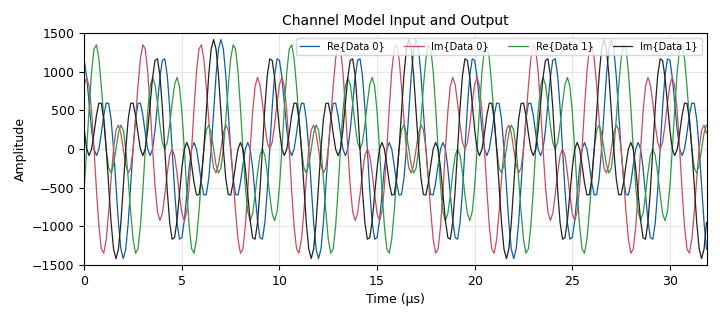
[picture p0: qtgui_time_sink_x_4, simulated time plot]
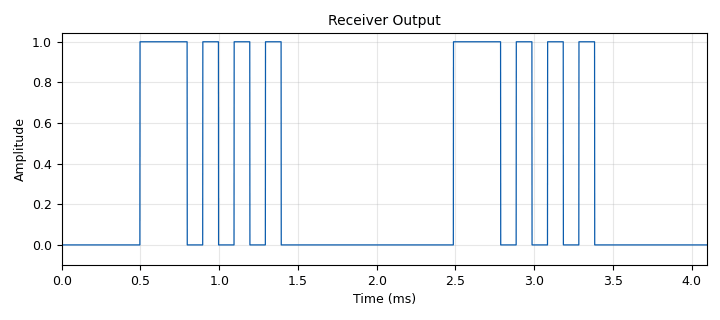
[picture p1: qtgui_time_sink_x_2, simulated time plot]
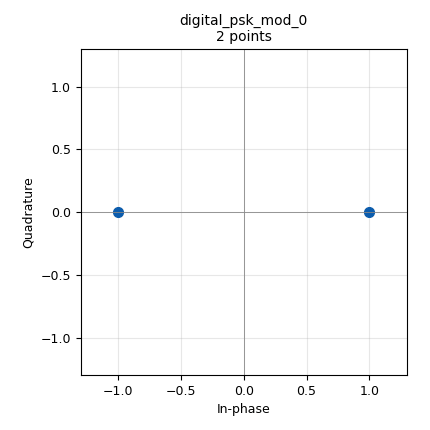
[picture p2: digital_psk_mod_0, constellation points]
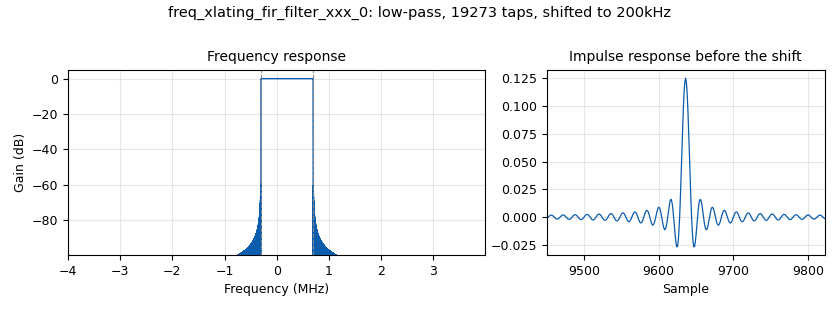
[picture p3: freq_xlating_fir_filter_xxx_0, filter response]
<?xml version='1.0' encoding='utf-8'?>
<?grc format='1' created='3.7.7'?>
<flow_graph>
<block>
<key>options</key>
<param><key>id</key><value>top_block</value></param>
<param><key>generate_options</key><value>qt_gui</value></param>
<param><key>category</key><value>Custom</value></param>
</block>
<block>
<key>variable</key>
<param><key>id</key><value>const_num</value></param>
<param><key>value</key><value>2</value></param>
</block>
<block>
<key>variable</key>
<param><key>id</key><value>samp_per_symbol</value></param>
<param><key>value</key><value>8</value></param>
</block>
<block>
<key>variable</key>
<param><key>id</key><value>filter_transition</value></param>
<param><key>value</key><value>1e3</value></param>
</block>
<block>
<key>variable</key>
<param><key>id</key><value>filter_cutoff</value></param>
<param><key>value</key><value>500e3</value></param>
</block>
<block>
<key>variable</key>
<param><key>id</key><value>gain</value></param>
<param><key>value</key><value>1e3</value></param>
</block>
<block>
<key>variable</key>
<param><key>id</key><value>center_freq</value></param>
<param><key>value</key><value>313e6</value></param>
</block>
<block>
<key>variable</key>
<param><key>id</key><value>working_samp_rate</value></param>
<param><key>value</key><value>400e3*0+8e6</value></param>
</block>
<block>
<key>variable</key>
<param><key>id</key><value>samp_rate</value></param>
<param><key>value</key><value>8e6</value></param>
</block>
<block>
<key>import</key>
<param><key>id</key><value>import_0</value></param>
<param><key>import</key><value>import math</value></param>
</block>
<block>
<key>variable_qtgui_entry</key>
<param><key>id</key><value>freq</value></param>
<param><key>type</key><value>real</value></param>
<param><key>value</key><value>313.2e6</value></param>
</block>
<block>
<key>variable_qtgui_entry</key>
<param><key>id</key><value>noise</value></param>
<param><key>type</key><value>real</value></param>
<param><key>value</key><value>0</value></param>
</block>
<block>
<key>variable_qtgui_entry</key>
<param><key>id</key><value>freq_offset</value></param>
<param><key>type</key><value>real</value></param>
<param><key>value</key><value>0</value></param>
</block>
<block>
<key>variable_qtgui_entry</key>
<param><key>id</key><value>freq_match</value></param>
<param><key>type</key><value>real</value></param>
<param><key>value</key><value>1</value></param>
</block>
<block>
<key>variable_qtgui_entry</key>
<param><key>id</key><value>threshold</value></param>
<param><key>type</key><value>real</value></param>
<param><key>value</key><value>0</value></param>
</block>
<block>
<key>variable_qtgui_entry</key>
<param><key>id</key><value>sensitivity</value></param>
<param><key>type</key><value>real</value></param>
<param><key>value</key><value>math.pi/2</value></param>
</block>
<block>
<key>blocks_vector_source_x</key>
<param><key>id</key><value>blocks_vector_source_x_0</value></param>
<param><key>type</key><value>byte</value></param>
<param><key>vector</key><value>(0, 1, 1, 1, 0, 1, 0, 1, 0, 1, 0, 0, 0, 0, 0, 0, 0, 0, 0, 0)</value></param>
<param><key>repeat</key><value>True</value></param>
</block>
<block>
<key>blocks_repeat</key>
<param><key>id</key><value>blocks_repeat_0</value></param>
<param><key>type</key><value>byte</value></param>
<param><key>interp</key><value>100</value></param>
</block>
<block>
<key>blocks_unpacked_to_packed_xx</key>
<param><key>id</key><value>blocks_unpacked_to_packed_xx_0</value></param>
<param><key>type</key><value>byte</value></param>
<param><key>bits_per_chunk</key><value>1</value></param>
<param><key>endianness</key><value>gr.GR_MSB_FIRST</value></param>
</block>
<block>
<key>qtgui_time_sink_x</key>
<param><key>id</key><value>qtgui_time_sink_x_0</value></param>
<param><key>_enabled</key><value>False</value></param>
<param><key>type</key><value>float</value></param>
<param><key>name</key><value>"Digital Input"</value></param>
<param><key>size</key><value>16384</value></param>
<param><key>srate</key><value>samp_rate</value></param>
<param><key>ymin</key><value>-0.1</value></param>
<param><key>tr_mode</key><value>qtgui.TRIG_MODE_AUTO</value></param>
<param><key>tr_level</key><value>0.5</value></param>
<param><key>tr_delay</key><value>100e-6</value></param>
<param><key>label1</key><value></value></param>
<param><key>color1</key><value>"blue"</value></param>
</block>
<block>
<key>digital_psk_mod</key>
<param><key>id</key><value>digital_psk_mod_0</value></param>
<param><key>constellation_points</key><value>const_num</value></param>
<param><key>mod_code</key><value>"gray"</value></param>
<param><key>differential</key><value>True</value></param>
<param><key>samples_per_symbol</key><value>samp_per_symbol</value></param>
<param><key>excess_bw</key><value>0.35</value></param>
</block>
<block>
<key>blocks_multiply_xx</key>
<param><key>id</key><value>blocks_multiply_xx_0</value></param>
<param><key>type</key><value>complex</value></param>
</block>
<block>
<key>analog_sig_source_x</key>
<param><key>id</key><value>analog_sig_source_x_0</value></param>
<param><key>type</key><value>complex</value></param>
<param><key>samp_rate</key><value>samp_rate</value></param>
<param><key>waveform</key><value>analog.GR_COS_WAVE</value></param>
<param><key>freq</key><value>freq-center_freq</value></param>
<param><key>amp</key><value>gain</value></param>
<param><key>offset</key><value>0</value></param>
</block>
<block>
<key>blocks_throttle</key>
<param><key>id</key><value>blocks_throttle_0</value></param>
<param><key>type</key><value>complex</value></param>
<param><key>samples_per_second</key><value>samp_rate</value></param>
</block>
<block>
<key>qtgui_time_sink_x</key>
<param><key>id</key><value>qtgui_time_sink_x_1</value></param>
<param><key>_enabled</key><value>False</value></param>
<param><key>type</key><value>complex</value></param>
<param><key>name</key><value>"PSK Modulated Signal"</value></param>
<param><key>size</key><value>16384</value></param>
<param><key>srate</key><value>samp_rate</value></param>
<param><key>ymin</key><value>-1100</value></param>
<param><key>ymax</key><value>1100</value></param>
<param><key>tr_mode</key><value>qtgui.TRIG_MODE_AUTO</value></param>
<param><key>tr_level</key><value>500</value></param>
<param><key>tr_delay</key><value>0.1e-3</value></param>
<param><key>label1</key><value></value></param>
<param><key>color1</key><value>"blue"</value></param>
<param><key>label2</key><value></value></param>
<param><key>color2</key><value>"red"</value></param>
</block>
<block>
<key>qtgui_time_sink_x</key>
<param><key>id</key><value>qtgui_time_sink_x_4</value></param>
<param><key>type</key><value>complex</value></param>
<param><key>name</key><value>"Channel Model Input and Output"</value></param>
<param><key>size</key><value>256</value></param>
<param><key>srate</key><value>samp_rate</value></param>
<param><key>ymin</key><value>-1500</value></param>
<param><key>ymax</key><value>1500</value></param>
<param><key>nconnections</key><value>2</value></param>
<param><key>label1</key><value></value></param>
<param><key>color1</key><value>"blue"</value></param>
<param><key>label2</key><value></value></param>
<param><key>color2</key><value>"red"</value></param>
<param><key>label3</key><value></value></param>
<param><key>color3</key><value>"green"</value></param>
<param><key>label4</key><value></value></param>
<param><key>color4</key><value>"black"</value></param>
</block>
<block>
<key>channels_channel_model</key>
<param><key>id</key><value>channels_channel_model_0</value></param>
<param><key>noise_voltage</key><value>noise</value></param>
<param><key>freq_offset</key><value>freq_offset</value></param>
<param><key>epsilon</key><value>freq_match</value></param>
<param><key>taps</key><value>1.0j</value></param>
<param><key>seed</key><value>0</value></param>
</block>
<block>
<key>blocks_uchar_to_float</key>
<param><key>id</key><value>blocks_uchar_to_float_0</value></param>
</block>
<block>
<key>qtgui_time_sink_x</key>
<param><key>id</key><value>qtgui_time_sink_x_2</value></param>
<param><key>type</key><value>float</value></param>
<param><key>name</key><value>"Receiver Output"</value></param>
<param><key>size</key><value>4096</value></param>
<param><key>srate</key><value>int(working_samp_rate/8)</value></param>
<param><key>ymin</key><value>-0.1</value></param>
<param><key>tr_level</key><value>0.5</value></param>
<param><key>tr_delay</key><value>1e-3</value></param>
<param><key>label1</key><value></value></param>
<param><key>color1</key><value>"blue"</value></param>
</block>
<block>
<key>freq_xlating_fir_filter_xxx</key>
<param><key>id</key><value>freq_xlating_fir_filter_xxx_0</value></param>
<param><key>type</key><value>ccc</value></param>
<param><key>decim</key><value>int(samp_rate/working_samp_rate)</value></param>
<param><key>taps</key><value>firdes.low_pass(1, samp_rate, filter_cutoff, filter_transition)</value></param>
<param><key>center_freq</key><value>freq-center_freq</value></param>
<param><key>samp_rate</key><value>samp_rate</value></param>
</block>
<block>
<key>digital_psk_demod</key>
<param><key>id</key><value>digital_psk_demod_0</value></param>
<param><key>constellation_points</key><value>const_num</value></param>
<param><key>differential</key><value>True</value></param>
<param><key>samples_per_symbol</key><value>samp_per_symbol</value></param>
<param><key>excess_bw</key><value>0.35</value></param>
<param><key>freq_bw</key><value>6.28/100.0</value></param>
<param><key>timing_bw</key><value>6.28/100.0</value></param>
<param><key>phase_bw</key><value>6.28/100.0</value></param>
<param><key>mod_code</key><value>"gray"</value></param>
</block>
<connection><source_block_id>analog_sig_source_x_0</source_block_id><sink_block_id>blocks_throttle_0</sink_block_id><source_key>0</source_key><sink_key>0</sink_key></connection>
<connection><source_block_id>blocks_multiply_xx_0</source_block_id><sink_block_id>qtgui_time_sink_x_1</sink_block_id><source_key>0</source_key><sink_key>0</sink_key></connection>
<connection><source_block_id>blocks_throttle_0</source_block_id><sink_block_id>blocks_multiply_xx_0</sink_block_id><source_key>0</source_key><sink_key>1</sink_key></connection>
<connection><source_block_id>blocks_repeat_0</source_block_id><sink_block_id>qtgui_time_sink_x_0</sink_block_id><source_key>0</source_key><sink_key>0</sink_key></connection>
<connection><source_block_id>blocks_multiply_xx_0</source_block_id><sink_block_id>channels_channel_model_0</sink_block_id><source_key>0</source_key><sink_key>0</sink_key></connection>
<connection><source_block_id>channels_channel_model_0</source_block_id><sink_block_id>freq_xlating_fir_filter_xxx_0</sink_block_id><source_key>0</source_key><sink_key>0</sink_key></connection>
<connection><source_block_id>blocks_uchar_to_float_0</source_block_id><sink_block_id>qtgui_time_sink_x_2</sink_block_id><source_key>0</source_key><sink_key>0</sink_key></connection>
<connection><source_block_id>blocks_multiply_xx_0</source_block_id><sink_block_id>qtgui_time_sink_x_4</sink_block_id><source_key>0</source_key><sink_key>0</sink_key></connection>
<connection><source_block_id>channels_channel_model_0</source_block_id><sink_block_id>qtgui_time_sink_x_4</sink_block_id><source_key>0</source_key><sink_key>1</sink_key></connection>
<connection><source_block_id>digital_psk_mod_0</source_block_id><sink_block_id>blocks_multiply_xx_0</sink_block_id><source_key>0</source_key><sink_key>0</sink_key></connection>
<connection><source_block_id>blocks_unpacked_to_packed_xx_0</source_block_id><sink_block_id>digital_psk_mod_0</sink_block_id><source_key>0</source_key><sink_key>0</sink_key></connection>
<connection><source_block_id>blocks_repeat_0</source_block_id><sink_block_id>blocks_unpacked_to_packed_xx_0</sink_block_id><source_key>0</source_key><sink_key>0</sink_key></connection>
<connection><source_block_id>blocks_vector_source_x_0</source_block_id><sink_block_id>blocks_repeat_0</sink_block_id><source_key>0</source_key><sink_key>0</sink_key></connection>
<connection><source_block_id>freq_xlating_fir_filter_xxx_0</source_block_id><sink_block_id>digital_psk_demod_0</sink_block_id><source_key>0</source_key><sink_key>0</sink_key></connection>
<connection><source_block_id>digital_psk_demod_0</source_block_id><sink_block_id>blocks_uchar_to_float_0</sink_block_id><source_key>0</source_key><sink_key>0</sink_key></connection>
</flow_graph>
